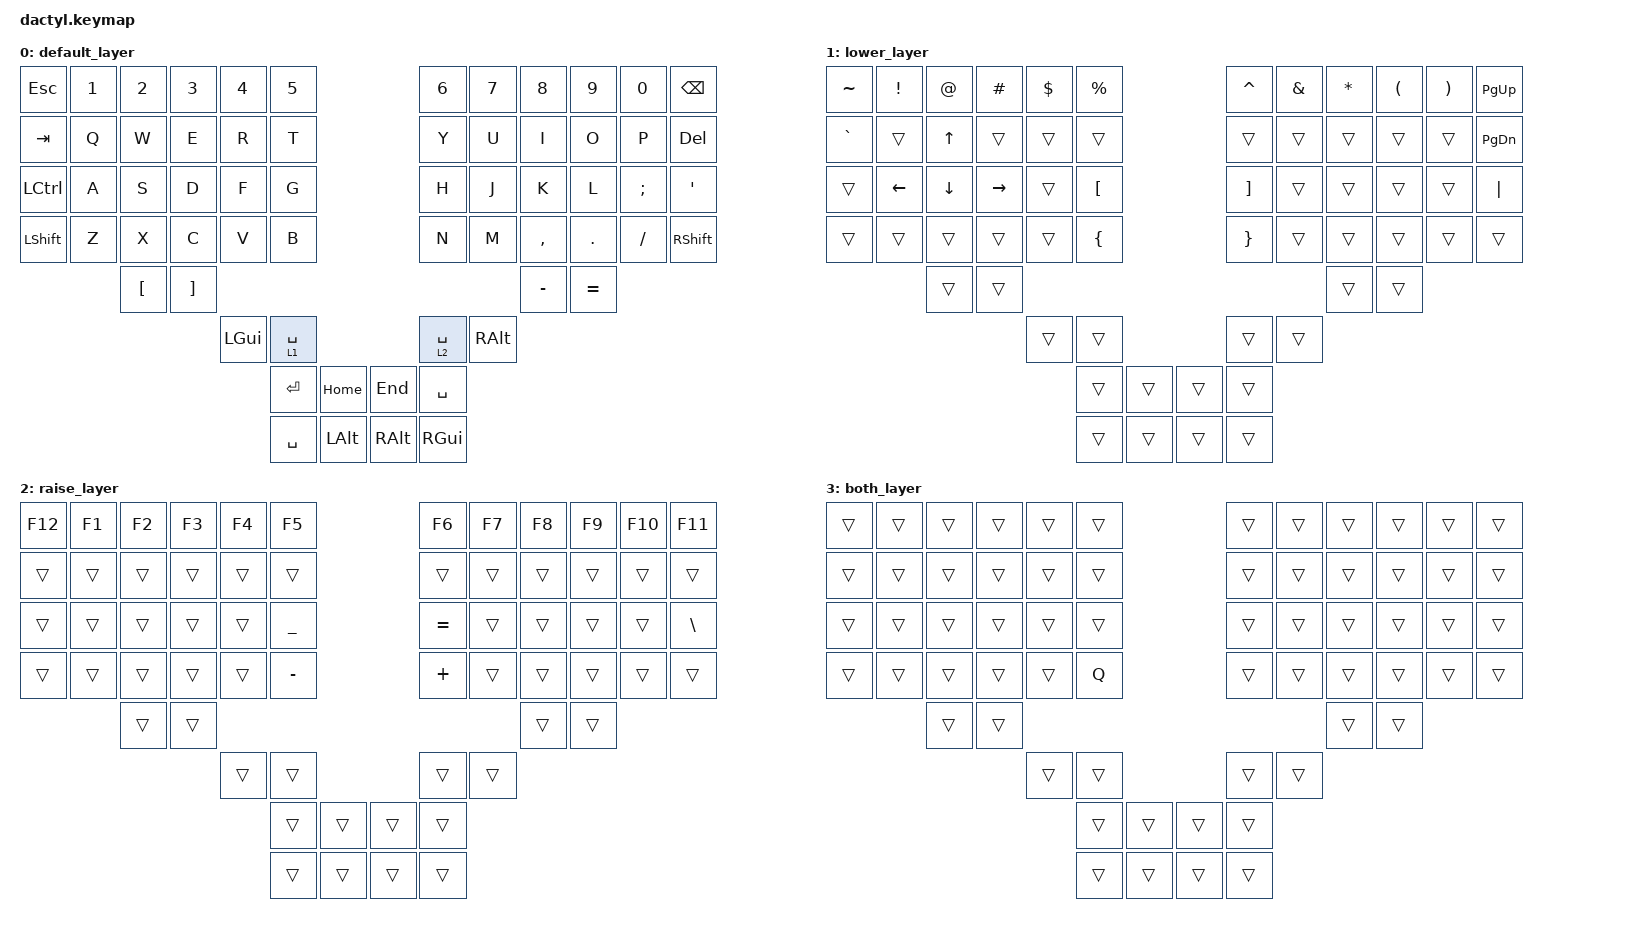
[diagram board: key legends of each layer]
#include <behaviors.dtsi>
#include <dt-bindings/zmk/keys.h>

#define DEFAULT 0
#define LWR 1
#define RSE 2
#define ADJ 3

/ {
    behaviors {
        F2_F5: F2_F5 {
            compatible = "zmk,behavior-tap-dance";
            label = "F2_F5";
            #binding-cells = <0>;
            bindings = <&kp F2>, <&kp F5>;
        };

        Bracket: Bracket {
            compatible = "zmk,behavior-tap-dance";
            label = "BRACKET";
            #binding-cells = <0>;
            bindings = <&kp LBKT>, <&kp RBKT>;
        };

        DMP: DMP {
            compatible = "zmk,behavior-tap-dance";
            label = "DMP";
            #binding-cells = <0>;
            bindings = <&kp C_VOL_DN>, <&kp C_MUTE>, <&kp C_PREVIOUS>;
        };

        UPN: UPN {
            compatible = "zmk,behavior-tap-dance";
            label = "UPN";
            #binding-cells = <0>;
            bindings = <&kp C_VOLUME_UP>, <&kp C_PLAY_PAUSE>, <&kp C_NEXT>;
        };

        BSLH_GRV: BSLH_GRV {
            compatible = "zmk,behavior-tap-dance";
            label = "BSLH_GRV";
            #binding-cells = <0>;
            bindings = <&kp BSLH>, <&kp GRAVE>;
        };
    };

    combos {
        compatible = "zmk,combos";

        studiounlock {
            bindings = <&studio_unlock>;
            key-positions = <0 11>;
        };
    };

    keymap {
        compatible = "zmk,keymap";

        default_layer {
            bindings = <
&kp ESC         &kp N1  &kp N2            &kp N3             &kp N4        &kp N5                                    &kp N6         &kp N7         &kp N8     &kp N9     &kp N0     &kp BACKSPACE
&kp TAB         &kp Q   &kp W             &kp E              &kp R         &kp T                                     &kp Y          &kp U          &kp I      &kp O      &kp P      &kp DELETE
&kp LCTRL       &kp A   &kp S             &kp D              &kp F         &kp G                                     &kp H          &kp J          &kp K      &kp L      &kp SEMI   &kp APOSTROPHE
&kp LEFT_SHIFT  &kp Z   &kp X             &kp C              &kp V         &kp B                                     &kp N          &kp M          &kp COMMA  &kp DOT    &kp SLASH  &kp RIGHT_SHIFT
                        &kp LEFT_BRACKET  &kp RIGHT_BRACKET                                                                                        &kp MINUS  &kp EQUAL
                                                             &kp LEFT_GUI  &lt 1 SPACE                               &lt 2 SPACE    &kp RIGHT_ALT
                                                                           &kp ENTER    &kp HOME      &kp END        &kp SPACE
                                                                           &kp SPACE    &kp LEFT_ALT  &kp RIGHT_ALT  &kp RIGHT_GUI
            >;
        };

        lower_layer {
            bindings = <
&kp TILDE  &kp EXCLAMATION  &kp AT_SIGN   &kp HASH   &kp DOLLAR  &kp PERCENT                       &kp CARET          &kp AMPERSAND  &kp ASTERISK  &kp LEFT_PARENTHESIS  &kp RIGHT_PARENTHESIS  &kp PAGE_UP
&kp GRAVE  &trans           &kp UP_ARROW  &trans     &trans      &trans                            &trans             &trans         &trans        &trans                &trans                 &kp PAGE_DOWN
&trans     &kp LEFT         &kp DOWN      &kp RIGHT  &trans      &kp LEFT_BRACKET                  &kp RIGHT_BRACKET  &trans         &trans        &trans                &trans                 &kp PIPE
&trans     &trans           &trans        &trans     &trans      &kp LEFT_BRACE                    &kp RIGHT_BRACE    &trans         &trans        &trans                &trans                 &trans
                            &trans        &trans                                                                                     &trans        &trans
                                                     &trans      &trans                            &trans             &trans
                                                                 &trans            &trans  &trans  &trans
                                                                 &trans            &trans  &trans  &trans
            >;
        };

        raise_layer {
            bindings = <
&kp F12  &kp F1  &kp F2  &kp F3  &kp F4  &kp F5                          &kp F6     &kp F7  &kp F8  &kp F9  &kp F10  &kp F11
&trans   &trans  &trans  &trans  &trans  &trans                          &trans     &trans  &trans  &trans  &trans   &trans
&trans   &trans  &trans  &trans  &trans  &kp UNDERSCORE                  &kp EQUAL  &trans  &trans  &trans  &trans   &kp BACKSLASH
&trans   &trans  &trans  &trans  &trans  &kp MINUS                       &kp PLUS   &trans  &trans  &trans  &trans   &trans
                 &trans  &trans                                                             &trans  &trans
                                 &trans  &trans                          &trans     &trans
                                         &trans          &trans  &trans  &trans
                                         &trans          &trans  &trans  &trans
            >;
        };

        both_layer {
            bindings = <
&trans  &trans  &trans  &trans  &trans  &trans                  &trans  &trans  &trans  &trans  &trans  &trans
&trans  &trans  &trans  &trans  &trans  &trans                  &trans  &trans  &trans  &trans  &trans  &trans
&trans  &trans  &trans  &trans  &trans  &trans                  &trans  &trans  &trans  &trans  &trans  &trans
&trans  &trans  &trans  &trans  &trans  &kp Q                   &trans  &trans  &trans  &trans  &trans  &trans
                &trans  &trans                                                  &trans  &trans
                                &trans  &trans                  &trans  &trans
                                        &trans  &trans  &trans  &trans
                                        &trans  &trans  &trans  &trans
            >;
        };
    };

    conditional_layers {
        compatible = "zmk,conditional-layers";

        both {
            if-layers = <1 2>;
            then-layer = <3>;
        };
    };
};
